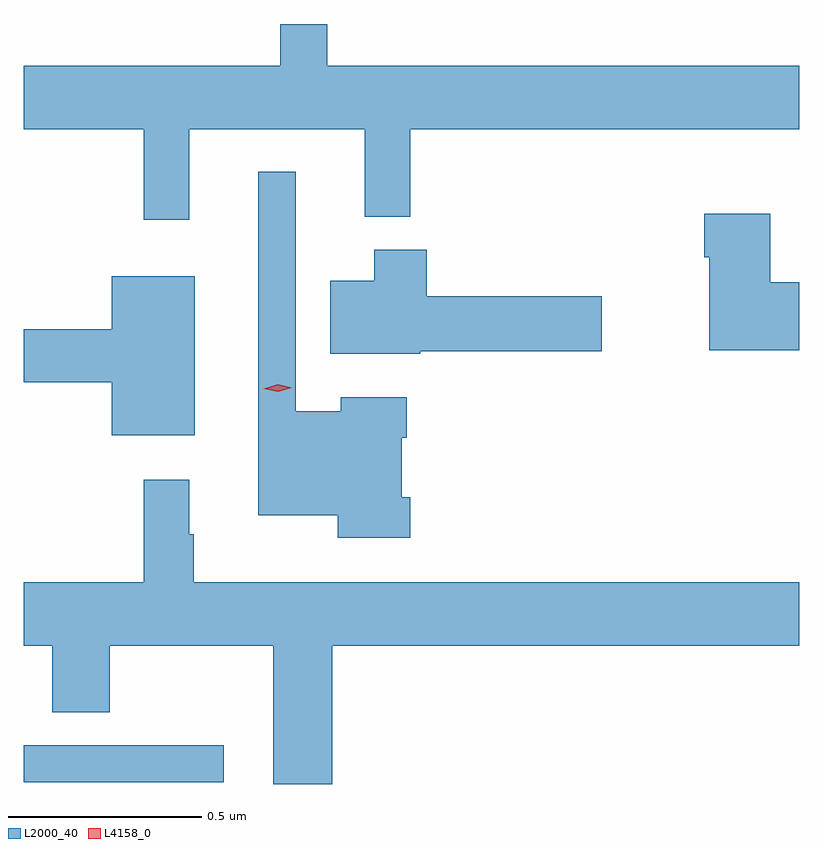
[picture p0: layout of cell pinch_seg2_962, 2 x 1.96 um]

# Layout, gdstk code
import gdstk
lib = gdstk.Library(unit=1e-6, precision=1e-09)
def R(c, l, rs):  # rectangles x0, y0, x1, y1
    for r in rs: c.add(gdstk.rectangle(r[:2], r[2:], *l))
def P(c, l, *ps):  # polygons
    for p in ps: c.add(gdstk.Polygon(p, *l))
L2000_40 = (2000, 40)
L4158_0 = (4158, 0)

pinch_seg2_962 = lib.new_cell('pinch_seg2_962')
R(pinch_seg2_962, L2000_40, [(342.508,657.939,343.024,658.035)])
P(pinch_seg2_962, L2000_40, [(342.935,659.624),(343.388,659.624),(343.388,659.399),(343.505,659.399),(343.505,659.624),(344.508,659.624),(344.508,659.788),(343.291,659.788),(343.291,659.896),(343.169,659.896),(343.169,659.788),(342.508,659.788),(342.508,659.624),(342.817,659.624),(342.817,659.391),(342.935,659.391)],
  [(343.505,658.675),(343.483,658.675),(343.483,658.829),(343.496,658.829),(343.496,658.933),(343.325,658.933),(343.325,658.897),(343.209,658.897),(343.209,659.515),(343.112,659.515),(343.112,658.628),(343.318,658.628),(343.318,658.571),(343.505,658.571)],
  [(344.508,659.23),(344.434,659.23),(344.434,659.407),(344.264,659.407),(344.264,659.294),(344.276,659.294),(344.276,659.054),(344.508,659.054)],
  [(343.53,659.051),(343.999,659.051),(343.999,659.193),(343.547,659.193),(343.547,659.314),(343.412,659.314),(343.412,659.233),(343.298,659.233),(343.298,659.045),(343.53,659.045)],
  [(342.949,659.245),(342.734,659.245),(342.734,659.108),(342.508,659.108),(342.508,658.972),(342.734,658.972),(342.734,658.835),(342.949,658.835)],
  [(343.304,658.292),(344.508,658.292),(344.508,658.456),(342.946,658.456),(342.946,658.58),(342.934,658.58),(342.934,658.72),(342.817,658.72),(342.817,658.456),(342.508,658.456),(342.508,658.292),(342.581,658.292),(342.581,658.12),(342.729,658.12),(342.729,658.292),(343.151,658.292),(343.151,657.935),(343.304,657.935)])
P(pinch_seg2_962, L4158_0, [(343.164,658.947),(343.127,658.955),(343.127,658.955),(343.127,658.955),(343.163,658.967),(343.199,658.958),(343.199,658.958),(343.199,658.958)])

lib.write_gds('pinch_seg2_962.gds')
